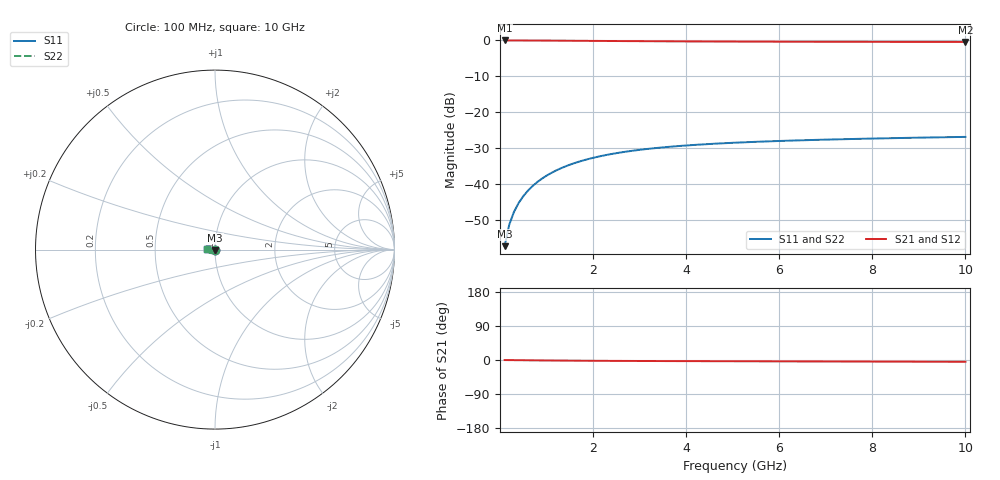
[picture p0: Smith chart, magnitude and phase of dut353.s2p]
! Touchstone file exported from HFSS 2024.1.0
!  File:  C:/UserFiles/LocalFiles/RDL_TSV_Batchsim/temp_TSV1_353_1779620380.aedt
!  Generated:  07:04:28 PM May 24, 2026
!  Design:  TSV1
!  Project:  temp_TSV1_353_1779620380
!  Setup:  Setup1
!  Solution:  Sweep
! Variables:
!  dtsv = 13.04um
!  hbump = 3um
!  htsv = 70.9um
!  lrdl = 252.1521522um
!  p = 40
!  p1 = 59.53um
!  t = 500um
!  trdl = 3um
!  wrdl = 24.89489489um
# GHz S MA R 50.000000
! Terminal data exported
! Port[1] = TSV22_T1
! Port[2] = TSV22_T2
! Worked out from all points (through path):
!   100 points, 100 MHz to 10 GHz, reference 50 ohm
!   highest |S21| = 0.00 dB at 100 MHz (marker M1); lowest = -0.4 dB at 10 GHz (marker M2)
!   lowest |S11| = -57.3 dB at 100 MHz (marker M3), VSWR 1.00, Z = 50 - j0.136 ohm
!   |S11| at or under -10 dB: start of sweep to end of sweep
!   |S22| runs from -57.3 to -26.9 dB; largest |S21 - S12| = 5e-15
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0.1  0.001358 -88.6  0.9999 -0.1  0.9999 -0.1  0.001358 -88.6
! Gamma 0 0 0 0
! Port Impedance 50 0 50 0
0.2  0.002712 -92.2  0.9997 -0.3  0.9997 -0.3  0.002712 -92.2
0.3  0.004064 -94.7  0.9995 -0.4  0.9995 -0.4  0.004064 -94.7
0.4  0.005407 -97.0  0.9991 -0.5  0.9991 -0.5  0.005407 -97.0
0.5  0.006737 -99.1  0.9987 -0.6  0.9987 -0.6  0.006737 -99.1
0.6  0.008047 -101.3  0.9982 -0.7  0.9982 -0.7  0.008047 -101.3
0.7  0.009336 -103.3  0.9976 -0.9  0.9976 -0.9  0.009336 -103.3
0.8  0.0106 -105.3  0.9969 -1.0  0.9969 -1.0  0.0106 -105.3
0.9  0.01183 -107.3  0.9962 -1.1  0.9962 -1.1  0.01183 -107.3
1.1  0.0142 -111.1  0.9946 -1.3  0.9946 -1.3  0.0142 -111.1
1.4  0.0175 -116.5  0.992 -1.6  0.992 -1.6  0.0175 -116.5
1.6  0.01951 -119.9  0.9901 -1.8  0.9901 -1.8  0.01951 -119.9
1.8  0.02138 -123.2  0.9881 -1.9  0.9881 -1.9  0.02138 -123.2
2.1  0.02392 -127.7  0.9852 -2.1  0.9852 -2.1  0.02392 -127.7
2.5  0.02685 -133.3  0.9815 -2.4  0.9815 -2.4  0.02685 -133.3
2.9  0.02932 -138.2  0.978 -2.6  0.978 -2.6  0.02932 -138.2
3.4  0.03189 -143.7  0.9742 -2.8  0.9742 -2.8  0.03189 -143.7
4.2  0.03506 -151.3  0.9691 -3.0  0.9691 -3.0  0.03506 -151.3
5.1  0.0377 -158.3  0.9647 -3.3  0.9647 -3.3  0.0377 -158.3
6.7  0.04098 -168.3  0.9592 -3.8  0.9592 -3.8  0.04098 -168.3
8.4  0.04344 -176.7  0.9556 -4.3  0.9556 -4.3  0.04344 -176.7
10  0.04529 176.7  0.9532 -4.7  0.9532 -4.7  0.04529 176.7
